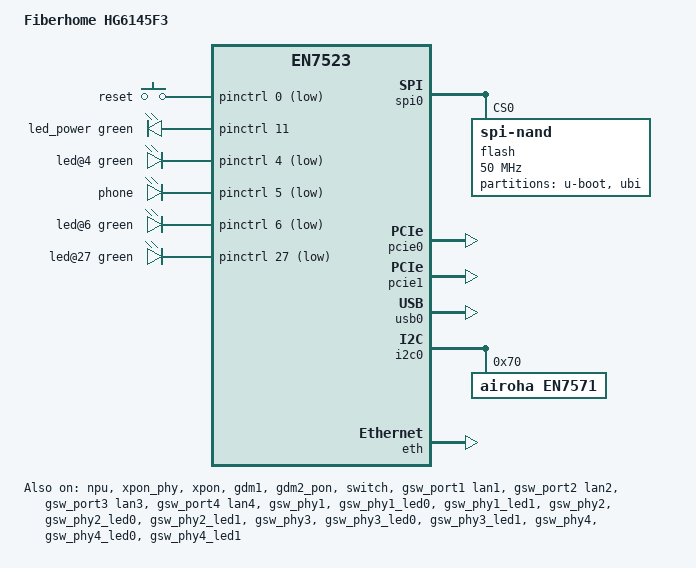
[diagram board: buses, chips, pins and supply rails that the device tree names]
// SPDX-License-Identifier: GPL-2.0-or-later OR MIT
/dts-v1/;

/*
 * Fiberhome HG6145F3: GPON ONT, 4x GbE, MT7916 Wi-Fi (DBDC) on PCIe0,
 * USB, EN7571 GPON optics behind an SFP-style cage (i2c via the LDD).
 * Airoha EN7523 (2x Cortex-A53), 1 GB DDR, 256 MiB SPI-NAND:
 *   0x000000-0x100000 u-boot (BL1 + FIP), 0x100000-0x10000000 UBI
 *   (ubootenv, ubootenv2, factory, bosa, fit).
 * Reconstructed from the DTB shipped in the prebuilt
 * openwrt-airoha-en7523-fiberhome_hg6145f3 FIT images.
 */

#include <dt-bindings/leds/common.h>
#include <dt-bindings/gpio/gpio.h>
#include <dt-bindings/input/input.h>
#include "en7523.dtsi"

/ {
	model = "Fiberhome HG6145F3";
	compatible = "fiberhome,hg6145f3", "airoha,en7523";

	chosen {
		rootdisk = <&firmware>;
		bootargs = "console=ttyS0,115200 earlycon ubi.block=0,fit root=/dev/fit0 rootwait";
		stdout-path = "serial0:115200n8";
	};

	aliases {
		serial0 = &uart1;
		led-boot = &led_power;
		led-failsafe = &led_power;
		led-upgrade = &led_power;
		led-running = &led_power;
	};

	keys {
		compatible = "gpio-keys";

		reset {
			label = "reset";
			linux,code = <KEY_RESTART>;
			gpios = <&pinctrl 0 GPIO_ACTIVE_LOW>;
			debounce-interval = <60>;
		};
	};

	leds {
		compatible = "gpio-leds";

		led_power: led@11 {
			color = <LED_COLOR_ID_GREEN>;
			function = LED_FUNCTION_POWER;
			gpios = <&pinctrl 11 GPIO_ACTIVE_HIGH>;
		};

		led@4 {
			color = <LED_COLOR_ID_GREEN>;
			function = LED_FUNCTION_USB;
			function-enumerator = <1>;
			gpios = <&pinctrl 4 GPIO_ACTIVE_LOW>;
		};

		led@5 {
			label = "phone";
			gpios = <&pinctrl 5 GPIO_ACTIVE_LOW>;
		};

		led@6 {
			color = <LED_COLOR_ID_GREEN>;
			function = LED_FUNCTION_WLAN_2GHZ;
			gpios = <&pinctrl 6 GPIO_ACTIVE_LOW>;
		};

		led@27 {
			color = <LED_COLOR_ID_GREEN>;
			function = LED_FUNCTION_WPS;
			gpios = <&pinctrl 27 GPIO_ACTIVE_LOW>;
		};
	};
};

&spi0 {
	flash@0 {
		compatible = "spi-nand";
		reg = <0>;
		spi-max-frequency = <50000000>;
		spi-tx-bus-width = <1>;
		spi-rx-bus-width = <2>;

		partitions {
			compatible = "fixed-partitions";
			#address-cells = <1>;
			#size-cells = <1>;

			partition@0 {
				label = "u-boot";
				reg = <0x00000000 0x00100000>;
				read-only;
			};

			partition@100000 {
				label = "ubi";
				compatible = "linux,ubi";
				reg = <0x00100000 0x0ff00000>;

				volumes {
					ubi-volume-ubootenv {
						volname = "ubootenv";
						nvmem-layout {
							compatible = "u-boot,env-redundant-bool";
							env-size = <0x4000>;
						};
					};

					ubi-volume-ubootenv2 {
						volname = "ubootenv2";
						nvmem-layout {
							compatible = "u-boot,env-redundant-bool";
							env-size = <0x4000>;

							/* env var "ethaddr", MAC base (+index) */
							ethaddr: ethaddr {
								#nvmem-cell-cells = <1>;
							};

							/* env var "asp_gpon_sn" */
							asp_gpon_sn: asp_gpon_sn {
								#nvmem-cell-cells = <1>;
							};
						};
					};

					ubi-volume-factory {
						volname = "factory";
						read-only;

						nvmem-layout {
							compatible = "fixed-layout";
							#address-cells = <1>;
							#size-cells = <1>;

							/* MT7916 calibration EEPROM */
							eeprom: eeprom@0 {
								reg = <0x00000000 0x00033000>;
							};
						};
					};

					ubi-volume-bosa {
						volname = "bosa";
						read-only;

						nvmem-layout {
							compatible = "fixed-layout";
							#address-cells = <1>;
							#size-cells = <1>;

							/* EN7571 BOB/laser calibration */
							en7571_bob: bob@0 {
								reg = <0x00000000 0x00000190>;
							};
						};
					};

					firmware: ubi-volume-firmware {
						volname = "fit";
						compatible = "denx,uimage";
					};
				};
			};
		};
	};
};

/*
 * The EN7523 pinctrl rejects the dtsi's open-drain setting on the PCIe
 * reset pins ("pin_config_set op failed for pin 41"), which stops both
 * PCIe controllers from probing. The reset works without it (same
 * workaround as en7523-skyworth_gn630v.dts).
 */
&pcie0 {
	status = "okay";

	/delete-property/ pinctrl-names;
	/delete-property/ pinctrl-0;
};

&pcie0_slot0 {
	mt7916@0,0 {
		reg = <0x0000 0 0 0 0>;
		#address-cells = <1>;
		#size-cells = <0>;
		nvmem-cells = <&eeprom>;
		nvmem-cell-names = "eeprom";
		airoha,npu = <&npu>;
		airoha,eth = <&eth>;

		/* 2.4 GHz */
		band@0 {
			reg = <0>;
			nvmem-cells = <&ethaddr 1>;
			nvmem-cell-names = "mac-address";
		};

		/* 5 GHz */
		band@1 {
			reg = <1>;
			nvmem-cells = <&ethaddr 2>;
			nvmem-cell-names = "mac-address";
		};
	};
};

&pcie1 {
	status = "okay";

	/delete-property/ pinctrl-names;
	/delete-property/ pinctrl-0;
};

&usb0 {
	status = "okay";
};

&npu {
	status = "okay";

	firmware-names = "rv32", "data";
	firmware-name = "airoha/en7523_kite_npu_rv32.bin",
			"airoha/en7523_kite_npu_data.bin";
};

&i2c0 {
	status = "okay";

	en7571: lddla@70 {
		compatible = "airoha,en7571";
		reg = <0x70>;

		nvmem-cells = <&en7571_bob>;
		nvmem-cell-names = "calibration";

		#optical-frontend-cells = <0>;
	};
};

&xpon_phy {
	status = "okay";

	/* not wired on this board (the shipped DTB has no tx-disable) */
	/delete-property/ tx-disable-gpios;
};

&xpon {
	status = "okay";

	nvmem-cells = <&asp_gpon_sn>;
	nvmem-cell-names = "gpon-serial-number";
	airoha,gpon-serial-from-mac;
	omci-vendor-id = "HWTC";

	optical-frontends = <&en7571>;
	optical-frontend-names = "pon";
};

&eth {
	status = "okay";
};

&gdm1 {
	status = "okay";

	nvmem-cells = <&ethaddr 0>;
	nvmem-cell-names = "mac-address";
};

&gdm2_pon {
	status = "okay";

	nvmem-cells = <&ethaddr 0>;
	nvmem-cell-names = "mac-address";

	openwrt,netdev-name = "pon0";
};

&switch {
	status = "okay";
};

&gsw_port1 {
	label = "lan1";
	status = "okay";
};

&gsw_port2 {
	label = "lan2";
	status = "okay";
};

&gsw_port3 {
	label = "lan3";
	status = "okay";
};

&gsw_port4 {
	label = "lan4";
	status = "okay";
};

&gsw_port6 {
	nvmem-cells = <&ethaddr 0>;
	nvmem-cell-names = "mac-address";
};

&gsw_phy1 {
	status = "okay";
};

&gsw_phy1_led0 {
	status = "okay";
	color = <LED_COLOR_ID_GREEN>;
};

&gsw_phy1_led1 {
	status = "okay";
	color = <LED_COLOR_ID_YELLOW>;
};

&gsw_phy2 {
	status = "okay";
};

&gsw_phy2_led0 {
	status = "okay";
	color = <LED_COLOR_ID_GREEN>;
};

&gsw_phy2_led1 {
	status = "okay";
	color = <LED_COLOR_ID_YELLOW>;
};

&gsw_phy3 {
	status = "okay";
};

&gsw_phy3_led0 {
	status = "okay";
	color = <LED_COLOR_ID_GREEN>;
};

&gsw_phy3_led1 {
	status = "okay";
	color = <LED_COLOR_ID_YELLOW>;
};

&gsw_phy4 {
	status = "okay";
};

&gsw_phy4_led0 {
	status = "okay";
	color = <LED_COLOR_ID_GREEN>;
};

&gsw_phy4_led1 {
	status = "okay";
	color = <LED_COLOR_ID_YELLOW>;
};
